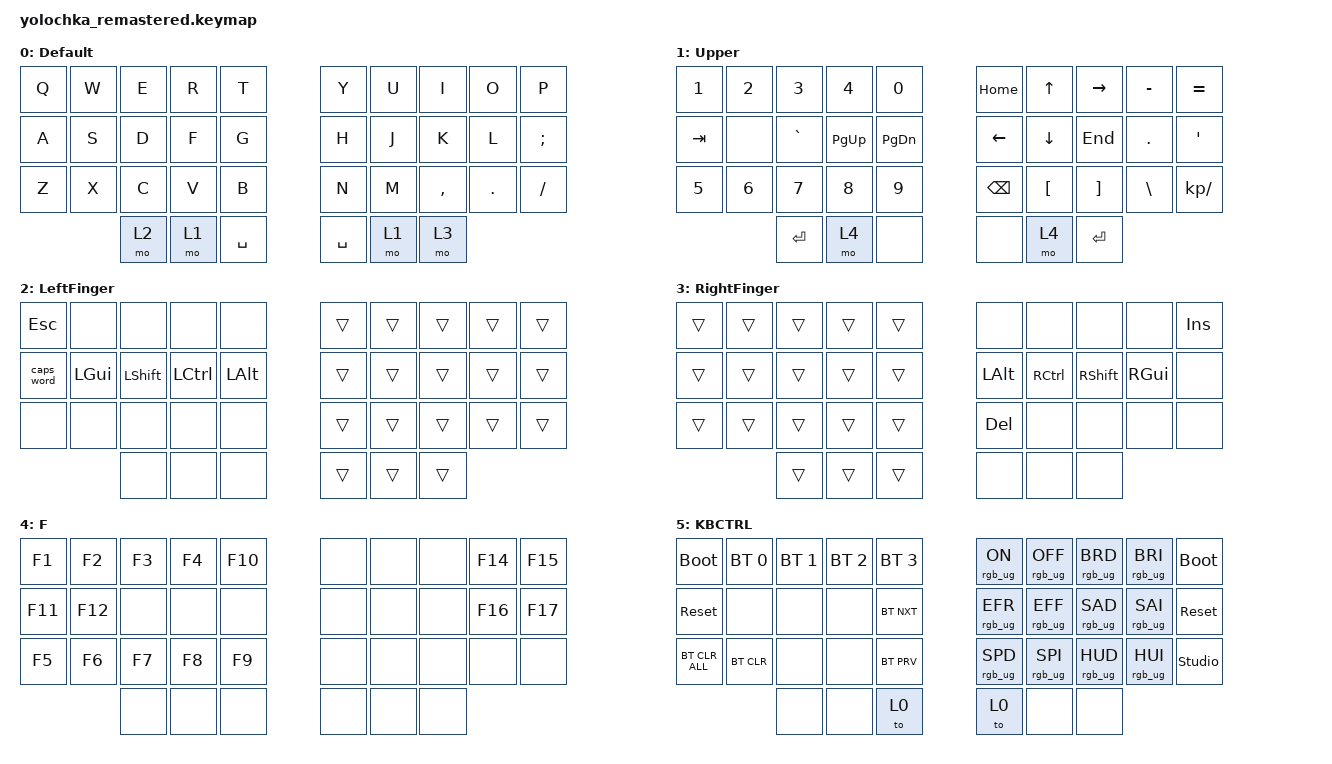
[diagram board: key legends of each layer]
/*
 * Copyright (c) 2020 The ZMK Contributors
 *
 * SPDX-License-Identifier: MIT
 */

#include <behaviors.dtsi>
#include <dt-bindings/zmk/bt.h>
#include <dt-bindings/zmk/keys.h>
#include <dt-bindings/zmk/rgb.h>

#define DEF 0
#define LWR 1
#define RSE 2
#define ADJ 3
#define GME 4

&lt {
    flavor = "balanced";
    tapping-term-ms = <220>;
    quick-tap-ms = <175>;
};

&mt {
    flavor = "balanced";
    tapping-term-ms = <280>;
    quick-tap-ms = <175>;
};

/ {
    combos {
        compatible = "zmk,combos";

        ju-enter {
            bindings = <&kp ENTER>;
            key-positions = <6 16>;
            layers = <0 2>;
        };

        fr-enter {
            bindings = <&kp ENTER>;
            key-positions = <13 3>;
            layers = <0 3>;
        };

        go-settings {
            bindings = <&to 5>;
            key-positions = <32 33>;
            layers = <4>;
        };
    };
};

/ {
    keymap {
        compatible = "zmk,keymap";

        default {
            label = "Default";
            bindings = <
&kp Q  &kp W  &kp E      &kp R      &kp T  &kp Y  &kp U  &kp I      &kp O       &kp P
&kp A  &kp S  &kp D      &kp F      &kp G  &kp H  &kp J  &kp K      &kp L       &kp SEMICOLON
&kp Z  &kp X  &kp C      &kp V      &kp B  &kp N  &kp M  &kp COMMA  &kp PERIOD  &kp SLASH
&mo 2  &mo 1  &kp SPACE  &kp SPACE  &mo 1  &mo 3
            >;
        };

        upper {
            bindings = <
&kp NUMBER_1  &kp NUMBER_2  &kp NUMBER_3  &kp NUMBER_4  &kp NUMBER_0   &kp HOME       &kp UP            &kp RIGHT          &kp MINUS      &kp EQUAL
&kp TAB       &none         &kp GRAVE     &kp PAGE_UP   &kp PAGE_DOWN  &kp LEFT       &kp DOWN          &kp END            &kp DOT        &kp SINGLE_QUOTE
&kp NUMBER_5  &kp NUMBER_6  &kp NUMBER_7  &kp NUMBER_8  &kp NUMBER_9   &kp BACKSPACE  &kp LEFT_BRACKET  &kp RIGHT_BRACKET  &kp BACKSLASH  &kp KP_SLASH
&kp ENTER     &mo 4         &none         &none         &mo 4          &kp ENTER
            >;

            label = "Upper";
        };

        left-finger {
            label = "LeftFinger";
            bindings = <
&kp ESCAPE  &none         &none           &none             &none         &trans  &trans  &trans  &trans  &trans
&caps_word  &kp LEFT_GUI  &kp LEFT_SHIFT  &kp LEFT_CONTROL  &kp LEFT_ALT  &trans  &trans  &trans  &trans  &trans
&none       &none         &none           &none             &none         &trans  &trans  &trans  &trans  &trans
&none       &none         &none           &trans            &trans        &trans
            >;
        };

        right-finger {
            label = "RightFinger";
            bindings = <
&trans  &trans  &trans  &trans  &trans  &none         &none              &none            &none          &kp INSERT
&trans  &trans  &trans  &trans  &trans  &kp LEFT_ALT  &kp RIGHT_CONTROL  &kp RIGHT_SHIFT  &kp RIGHT_GUI  &none
&trans  &trans  &trans  &trans  &trans  &kp DELETE    &none              &none            &none          &none
&trans  &trans  &trans  &none   &none   &none
            >;
        };

        flayer {
            label = "F";
            bindings = <
&kp F1   &kp F2   &kp F3  &kp F4  &kp F10  &none  &none  &none  &kp F14  &kp F15
&kp F11  &kp F12  &none   &none   &none    &none  &none  &none  &kp F16  &kp F17
&kp F5   &kp F6   &kp F7  &kp F8  &kp F9   &none  &none  &none  &none    &none
&none    &none    &none   &none   &none    &none
            >;
        };

        kb_control_layer {
            label = "KBCTRL";
            bindings = <
&bootloader     &bt BT_SEL 0  &bt BT_SEL 1  &bt BT_SEL 2  &bt BT_SEL 3  &rgb_ug RGB_ON   &rgb_ug RGB_OFF  &rgb_ug RGB_BRD  &rgb_ug RGB_BRI  &bootloader
&sys_reset      &none         &none         &none         &bt BT_NXT    &rgb_ug RGB_EFR  &rgb_ug RGB_EFF  &rgb_ug RGB_SAD  &rgb_ug RGB_SAI  &sys_reset
&bt BT_CLR_ALL  &bt BT_CLR    &none         &none         &bt BT_PRV    &rgb_ug RGB_SPD  &rgb_ug RGB_SPI  &rgb_ug RGB_HUD  &rgb_ug RGB_HUI  &studio_unlock
&none           &none         &to 0         &to 0         &none         &none
            >;
        };
    };
};
